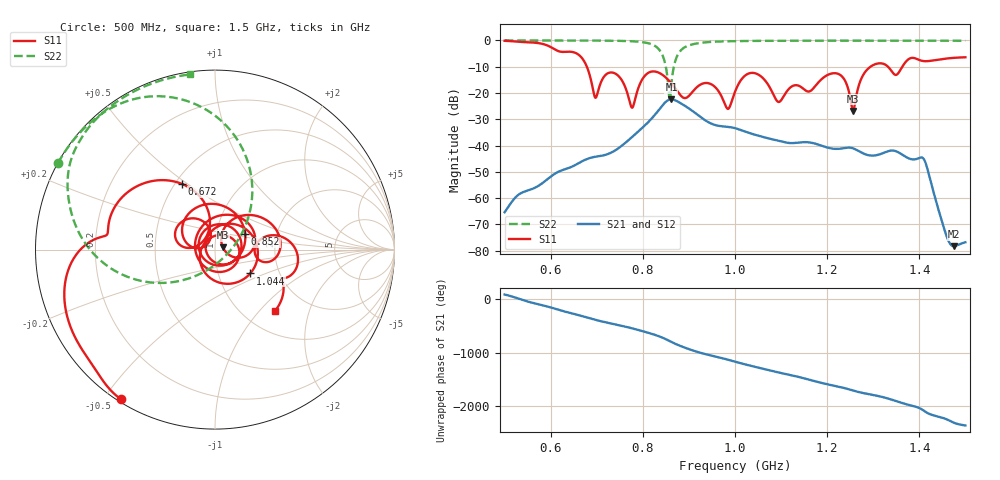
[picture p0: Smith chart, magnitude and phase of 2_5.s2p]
! TOUCHSTONE file generated by CST MICROWAVE STUDIO
! Date and time: Mon Nov 30 08:42:09 2020
! Project name: Scenario_1_Planar_Body_Tissue_Out_of_Line.cst
! Parameters = {dy1=-328.7; L_HA=400; Ltissue=700; MT=2.54; Rad_Dielectric=30; Rad_Lower=7.3; Rad_Upper=30; Wtissue=700; a_HA=580; a_WG=246; b_HA=500; b_WG=121; c_HA=0; c_WG=187; d_feed=85; dx1=866; h_feed=15; h_lower=18; h_upper=40; hfat=3; hgap=25; hmuscle=50; hskin=1.5}
! Header version: 2018
! Port assignment regex: !\s*Touchstone port\s*([0-9]+)\s*=\s*(CST MWS port|CST DS port)\s*([0-9]+|Zmin|Zmax)\s*\(\"(.*)\"\)(\s*mode\s*([0-9]+))?.*
! Touchstone port assignment:
! Touchstone port 1 = CST MWS port 1 ("")
! Touchstone port 2 = CST MWS port 2 ("")
# GHz S DB R 50
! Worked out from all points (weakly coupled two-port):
!   1003 points, 500 MHz to 1.5 GHz, reference 50 ohm
!   highest |S21| = -22.42 dB at 862 MHz (marker M1); lowest = -78.3 dB at 1.475 GHz (marker M2)
!   lowest |S11| = -26.8 dB at 1.256 GHz (marker M3), VSWR 1.10, Z = 54.5 + j1.46 ohm
!   |S11| at or under -10 dB: 678.5 MHz to 1.294 GHz (615.5 MHz wide, 62.4 % of centre); 1.332 GHz to 1.363 GHz (31.05 MHz wide, 2.3 % of centre)
!   |S22| runs from -23.4 to 0.0 dB; largest |S21 - S12| = 2.8e-05
!   S11 on the Smith chart (normalised r, x): 500 MHz: 0.01, -0.55; 672 MHz: 0.54, +0.48; 852 MHz: 1.38, +0.25; 1.044 GHz: 1.42, -0.40; 1.5 GHz: 1.38, -1.22
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0.5  -0.13 -122.1  -65.36 80.6  -65.36 80.6  -0.01 151.2
0.582  -1.30 -166.5  -54.30 -118.0  -54.30 -118.0  -0.02 145.5
0.667  -6.51 125.2  -46.08 42.7  -46.08 42.7  -0.04 138.4
0.672  -7.73 116.8  -45.64 30.6  -45.64 30.6  -0.04 137.9
0.697  -21.81 137.7  -44.26 -29.6  -44.26 -29.6  -0.06 135.2
0.736  -12.30 141.4  -42.24 -105.8  -42.24 -105.8  -0.12 130.0
0.776  -25.57 135.8  -36.85 174.3  -36.85 174.3  -0.31 121.6
0.834  -12.23 75.9  -26.60 28.2  -26.60 28.2  -3.20 84.7
0.852  -14.47 27.2  -23.06 -38.0  -23.06 -38.0  -12.21 42.3
0.862  -16.36 -2.7  -22.42 -80.8  -22.42 -80.8  -16.58 -118.9
0.889  -21.87 -118.1  -24.63 180.0  -24.63 180.0  -2.80 177.2
1  -19.53 99.7  -33.37 -87.2  -33.37 -87.2  -0.27 140.3
1.044  -12.50 -34.0  -35.91 175.5  -35.91 175.5  -0.17 135.1
1.094  -23.39 141.8  -38.16 73.2  -38.16 73.2  -0.13 130.3
1.167  -18.78 165.1  -38.97 -76.7  -38.97 -76.7  -0.10 124.2
1.224  -12.72 14.0  -41.25 169.4  -41.25 169.4  -0.09 119.9
1.256  -26.84 17.1  -41.04 96.8  -41.04 96.8  -0.09 117.5
1.287  -11.06 43.5  -43.56 34.2  -43.56 34.2  -0.08 115.1
1.334  -10.37 -13.2  -42.07 -57.6  -42.07 -57.6  -0.09 111.6
1.41  -7.87 -23.2  -45.21 79.6  -45.24 79.3  -0.10 105.6
1.475  -6.63 -38.1  -78.28 -142.3  -78.26 -142.7  -0.12 100.2
1.5  -6.41 -45.7  -76.80 167.0  -76.79 167.1  -0.13 98.0
